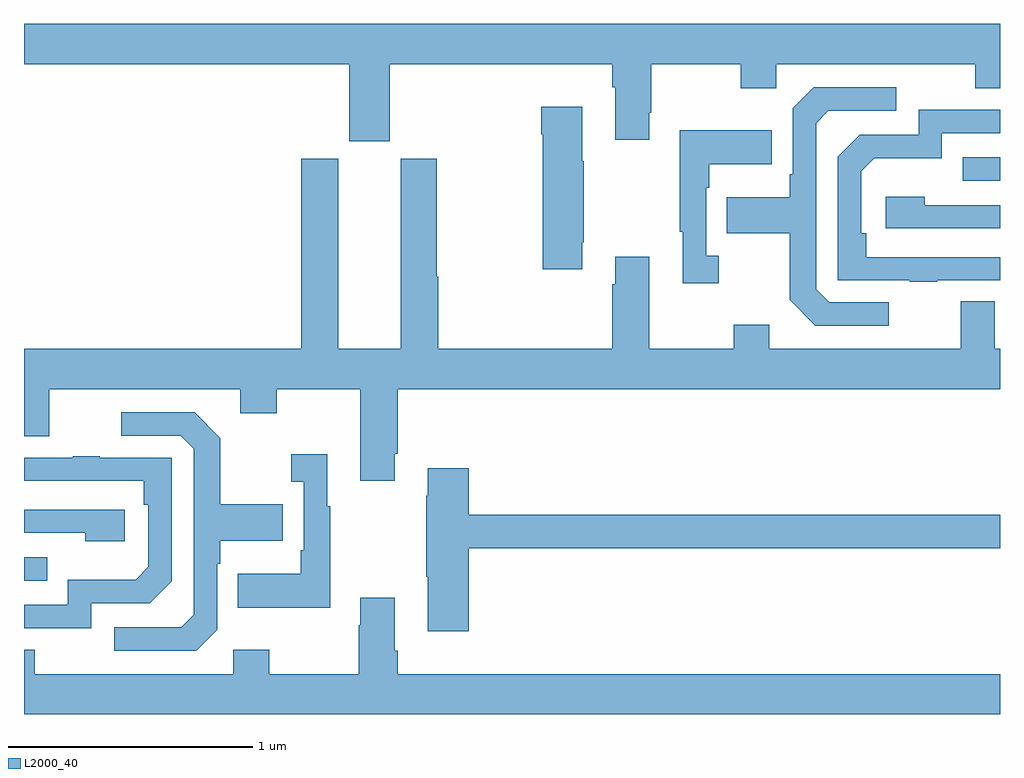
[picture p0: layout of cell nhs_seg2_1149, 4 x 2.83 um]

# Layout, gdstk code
import gdstk
lib = gdstk.Library(unit=1e-6, precision=1e-09)
def R(c, l, rs):  # rectangles x0, y0, x1, y1
    for r in rs: c.add(gdstk.rectangle(r[:2], r[2:], *l))
def P(c, l, *ps):  # polygons
    for p in ps: c.add(gdstk.Polygon(p, *l))
L2000_40 = (2000, 40)

nhs_seg2_1149 = lib.new_cell('nhs_seg2_1149')
R(nhs_seg2_1149, L2000_40, [(171,606.891,171.095,606.987), (174.847,608.529,175,608.625)])
P(nhs_seg2_1149, L2000_40, [(172.498,609.008),(173.411,609.008),(173.411,608.912),(173.423,608.912),(173.423,608.697),(173.563,608.697),(173.563,608.809),(173.571,608.809),(173.571,609.008),(173.938,609.008),(173.938,608.909),(174.084,608.909),(174.084,609.008),(174.898,609.008),(174.898,608.909),(175,608.909),(175,609.172),(171,609.172),(171,609.008),(172.334,609.008),(172.334,608.691),(172.498,608.691)],
  [(174.544,608.031),(174.3,608.031),(174.246,608.085),(174.246,608.766),(174.297,608.817),(174.574,608.817),(174.574,608.913),(174.237,608.913),(174.15,608.826),(174.15,608.557),(174.138,608.557),(174.138,608.461),(173.881,608.461),(173.881,608.314),(174.138,608.314),(174.138,608.041),(174.243,607.935),(174.544,607.935)],
  [(173.287,608.278),(173.295,608.278),(173.295,608.609),(173.287,608.609),(173.287,608.833),(173.12,608.833),(173.12,608.72),(173.125,608.72),(173.125,608.166),(173.287,608.166)],
  [(174.743,608.121),(175,608.121),(175,608.217),(174.452,608.217),(174.452,608.314),(174.432,608.314),(174.432,608.568),(174.485,608.621),(174.762,608.621),(174.762,608.724),(175,608.724),(175,608.82),(174.666,608.82),(174.666,608.718),(174.426,608.718),(174.336,608.628),(174.336,608.121),(174.631,608.121),(174.631,608.116),(174.743,608.116)],
  [(173.848,608.222),(173.796,608.222),(173.796,608.501),(173.809,608.501),(173.809,608.597),(174.065,608.597),(174.065,608.737),(173.688,608.737),(173.688,608.321),(173.699,608.321),(173.699,608.109),(173.848,608.109)],
  [(172.519,607.411),(172.532,607.411),(172.532,607.676),(175,607.676),(175,607.84),(174.979,607.84),(174.979,608.035),(174.839,608.035),(174.839,607.84),(174.055,607.84),(174.055,607.939),(173.908,607.939),(173.908,607.84),(173.563,607.84),(173.563,608.218),(173.423,608.218),(173.423,608.105),(173.411,608.105),(173.411,607.84),(172.697,607.84),(172.697,608.136),(172.692,608.136),(172.692,608.619),(172.544,608.619),(172.544,607.84),(172.288,607.84),(172.288,608.619),(172.136,608.619),(172.136,607.84),(171,607.84),(171,607.482),(171.103,607.482),(171.103,607.676),(171.887,607.676),(171.887,607.577),(172.035,607.577),(172.035,607.676),(172.379,607.676),(172.379,607.299),(172.519,607.299)],
  [(175,608.43),(174.692,608.43),(174.692,608.464),(174.531,608.464),(174.531,608.334),(175,608.334)],
  [(171.792,606.69),(171.792,606.959),(171.805,606.959),(171.805,607.055),(172.061,607.055),(172.061,607.203),(171.805,607.203),(171.805,607.475),(171.699,607.581),(171.399,607.581),(171.399,607.485),(171.642,607.485),(171.696,607.431),(171.696,606.75),(171.645,606.699),(171.369,606.699),(171.369,606.603),(171.705,606.603)],
  [(172.255,607.195),(172.243,607.195),(172.243,607.408),(172.095,607.408),(172.095,607.295),(172.146,607.295),(172.146,607.015),(172.134,607.015),(172.134,606.919),(171.877,606.919),(171.877,606.779),(172.255,606.779)],
  [(171.276,606.798),(171.516,606.798),(171.606,606.888),(171.606,607.395),(171.311,607.395),(171.311,607.4),(171.199,607.4),(171.199,607.395),(171,607.395),(171,607.299),(171.49,607.299),(171.49,607.202),(171.51,607.202),(171.51,606.948),(171.457,606.895),(171.18,606.895),(171.18,606.792),(171,606.792),(171,606.696),(171.276,606.696)],
  [(172.823,607.024),(175,607.024),(175,607.16),(172.823,607.16),(172.823,607.351),(172.655,607.351),(172.655,607.238),(172.648,607.238),(172.648,606.907),(172.655,606.907),(172.655,606.684),(172.823,606.684)],
  [(171.412,607.182),(171,607.182),(171,607.086),(171.251,607.086),(171.251,607.052),(171.412,607.052)],
  [(175,606.508),(172.532,606.508),(172.532,606.604),(172.519,606.604),(172.519,606.82),(172.379,606.82),(172.379,606.707),(172.372,606.707),(172.372,606.508),(172.005,606.508),(172.005,606.607),(171.858,606.607),(171.858,606.508),(171.045,606.508),(171.045,606.607),(171,606.607),(171,606.344),(175,606.344)])

lib.write_gds('nhs_seg2_1149.gds')
